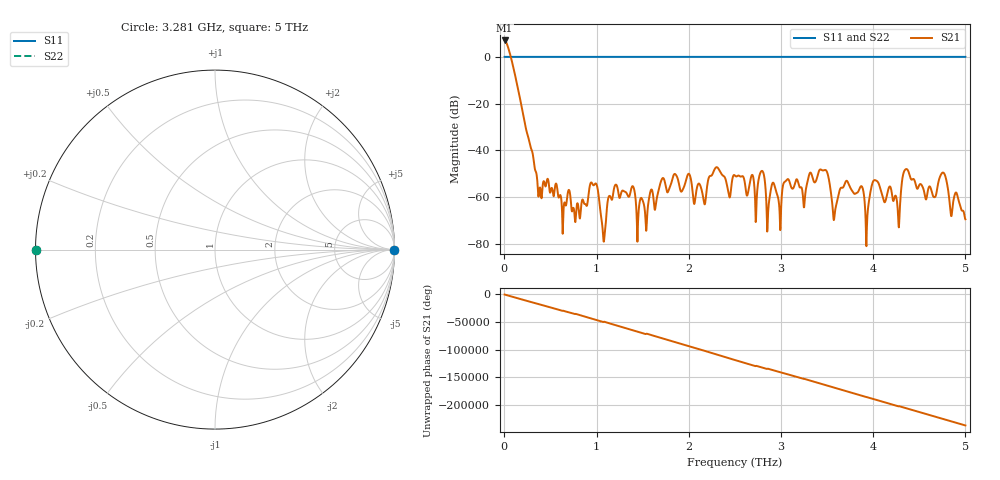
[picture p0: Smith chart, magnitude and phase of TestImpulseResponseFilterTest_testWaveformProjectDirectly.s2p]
! File created by SignalIntegrity v1.1.17: Signal and Power Integrity Tools
! https://github.com/TeledyneLeCroy/SignalIntegrity
# MHz S MA R 50.0
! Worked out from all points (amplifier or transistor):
!   1524 points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, 3.281 GHz to 5 THz, reference 50 ohm
!   highest |S21| = 7.0 dB at 3.281 GHz (marker M1)
!   |S21| within 3 dB of that: start of sweep to 41.31 GHz
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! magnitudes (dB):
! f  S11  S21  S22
! 3.281 GHz  0.0  7.0  0.0
! 383.9 GHz  0.0  -56.0  0.0
! 836.6 GHz  0.0  -62.8  0.0
! 990.8 GHz  0.0  -54.2  0.0
! 1.079 THz  0.0  -79.1  0.0
! 1.207 THz  0.0  -54.7  0.0
! 1.45 THz  0.0  -70.6  0.0
! 1.67 THz  0.0  -57.6  0.0
! 2.503 THz  0.0  -50.9  0.0
! 2.73 THz  0.0  -69.4  0.0
! 2.795 THz  0.0  -48.8  0.0
! 2.861 THz  0.0  -66.4  0.0
! 3.337 THz  0.0  -50.9  0.0
! 3.491 THz  0.0  -48.6  0.0
! 3.579 THz  0.0  -68.5  0.0
! 3.871 THz  0.0  -55.3  0.0
! 3.93 THz  0.0  -74.4  0.0
! 4.006 THz  0.0  -52.9  0.0
! 4.17 THz  0.0  -56.0  0.0
! 4.275 THz  0.0  -71.8  0.0
! 4.757 THz  0.0  -49.5  0.0
! 5 THz  0.0  -69.5  0.0
